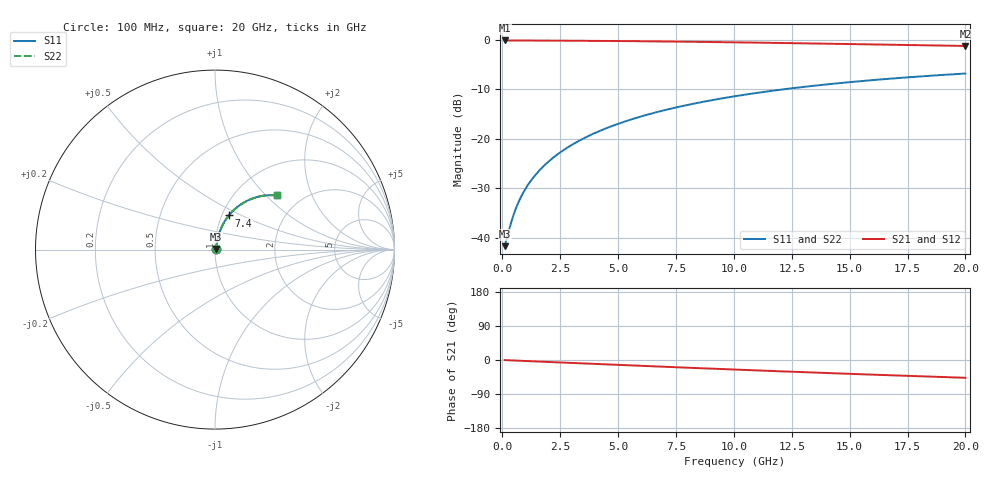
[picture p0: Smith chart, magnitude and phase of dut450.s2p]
! Touchstone file exported from HFSS 2026.1.0
!  File:  C:/ffzhzh/LocalFiles/Ansys_Project_Files/temp_train_BSMRDL_450_1783013278_55676.aedt
!  Generated:  01:29:33 AM Jul  3, 2026
!  Design:  BSMRDL
!  Project:  temp_train_BSMRDL_450_1783013278_55676
! Variables:
!  h_bsmrdl = 2.27um
!  h_ox = 20um
!  h_rdl = 5um
!  h_sub = 80um
!  h_tmrdl = 5um
!  h_tsv = 80um
!  h_via = 3um
!  l_bsmrdl = 678.68um
!  l_sub = 1078.68um
!  l_tmrdl = 200um
!  m_sub = 200um
!  pitch = 37.11um
!  r_tsv = 6um
!  s_tmrdl = 10um
!  w_bsmrdl = 14.16um
!  w_sub = 500um
!  w_tmrdl = 12um
!  x_tsv_center1 = 206um
!  x_tsv_center2 = 898.84um
!  x_tsv_center3 = 1110.84um
!  x_tsv_center4 = 1803.68um
!  x_tsv_center5 = 2015.68um
!  x_tsv_center6 = 2708.52um
# GHz S MA R 50.000000
! Terminal data exported
! Port[1] = BSM_RDL1_1_T1
! Port[2] = BSM_RDL1_1_T2
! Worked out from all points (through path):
!   200 points, 100 MHz to 20 GHz, reference 50 ohm
!   highest |S21| = -0.07 dB at 100 MHz (marker M1); lowest = -1.2 dB at 20 GHz (marker M2)
!   group delay of S21, straight-line fit = 6.54 ps
!   lowest |S11| = -41.7 dB at 100 MHz (marker M3), VSWR 1.02, Z = 50.8 + j0.314 ohm
!   |S11| at or under -10 dB: start of sweep to 12.09 GHz
!   |S22| runs from -41.7 to -6.8 dB; largest |S21 - S12| = 3e-15
!   S11 on the Smith chart (normalised r, x): 100 MHz: 1.02, +0.01; 7.4 GHz: 1.08, +0.43; 20 GHz: 1.52, +1.16
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0.1  0.008184 22.2  0.9924 -0.3  0.9924 -0.3  0.008184 22.2
! Gamma 0 0 0 0
! Port Impedance 50 0 50 0
0.4  0.01468 56.3  0.992 -1.1  0.992 -1.1  0.01468 56.3
0.6  0.02008 64.1  0.9916 -1.6  0.9916 -1.6  0.02008 64.1
0.7  0.02284 66.5  0.9914 -1.9  0.9914 -1.9  0.02284 66.5
0.9  0.02836 69.7  0.9909 -2.4  0.9909 -2.4  0.02836 69.7
1.2  0.03667 72.6  0.9903 -3.2  0.9903 -3.2  0.03667 72.6
1.4  0.04222 73.7  0.99 -3.7  0.99 -3.7  0.04223 73.7
1.7  0.05057 74.9  0.9894 -4.5  0.9894 -4.5  0.05057 74.8
2.2  0.06452 75.7  0.9884 -5.7  0.9884 -5.7  0.06452 75.7
2.8  0.08127 75.8  0.9869 -7.3  0.9869 -7.3  0.08128 75.8
3.5  0.1008 75.2  0.9849 -9.1  0.9849 -9.1  0.1008 75.2
4.2  0.1201 74.3  0.9826 -10.9  0.9826 -10.9  0.1201 74.2
5  0.1419 72.9  0.9794 -12.9  0.9794 -12.9  0.142 72.9
5.9  0.1661 71.1  0.9753 -15.2  0.9753 -15.2  0.1661 71.1
6.8  0.1898 69.3  0.9707 -17.4  0.9707 -17.4  0.1898 69.2
7.4  0.2053 68.0  0.9674 -18.9  0.9674 -18.9  0.2053 67.9
8.7  0.2379 65.1  0.9594 -22.1  0.9594 -22.1  0.2379 65.1
10.1  0.2715 62.0  0.95 -25.4  0.95 -25.4  0.2715 61.9
11.7  0.3078 58.5  0.9384 -29.1  0.9384 -29.1  0.3078 58.4
13.4  0.3438 54.8  0.9253 -33.0  0.9253 -33.0  0.3439 54.7
16.7  0.4062 47.8  0.899 -40.2  0.899 -40.2  0.4062 47.7
20  0.4588 41.2  0.8731 -46.9  0.8731 -46.9  0.4588 41.1
